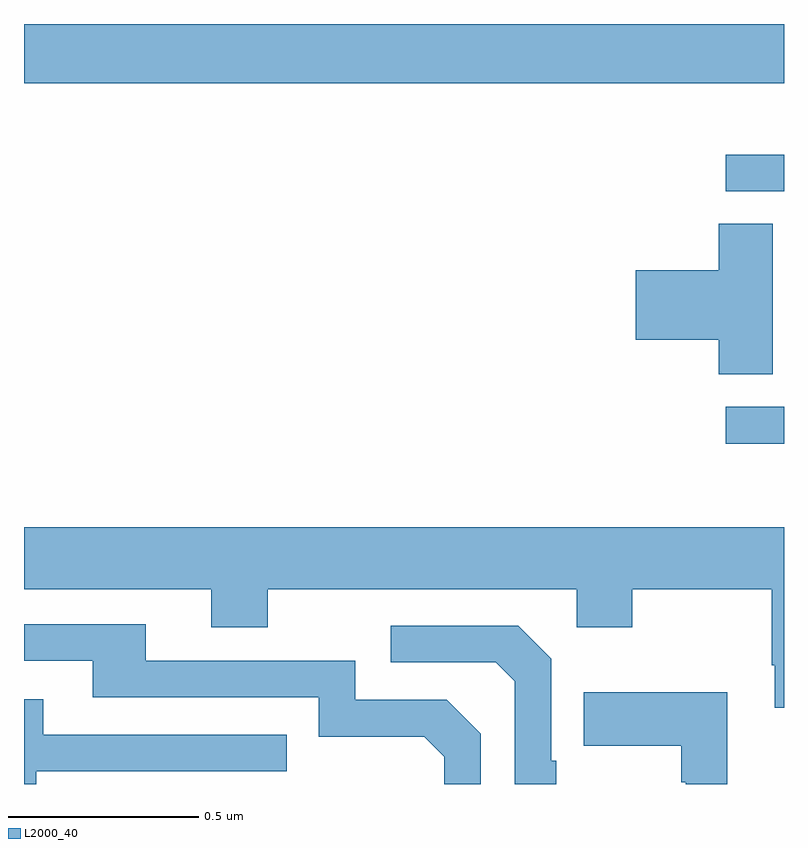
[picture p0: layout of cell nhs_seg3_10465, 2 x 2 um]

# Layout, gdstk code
import gdstk
lib = gdstk.Library(unit=1e-6, precision=1e-09)
def R(c, l, rs):  # rectangles x0, y0, x1, y1
    for r in rs: c.add(gdstk.rectangle(r[:2], r[2:], *l))
def P(c, l, *ps):  # polygons
    for p in ps: c.add(gdstk.Polygon(p, *l))
L2000_40 = (2000, 40)

nhs_seg3_10465 = lib.new_cell('nhs_seg3_10465')
R(nhs_seg3_10465, L2000_40, [(242.847,705.295,243,705.393), (242.847,705.96,243,706.056), (241,706.244,243,706.4)])
P(nhs_seg3_10465, L2000_40, [(242.971,705.875),(242.828,705.875),(242.828,705.752),(242.61,705.752),(242.61,705.569),(242.828,705.569),(242.828,705.478),(242.971,705.478)],
  [(243,705.076),(241,705.076),(241,704.912),(241.493,704.912),(241.493,704.813),(241.641,704.813),(241.641,704.912),(242.454,704.912),(242.454,704.813),(242.601,704.813),(242.601,704.912),(242.968,704.912),(242.968,704.713),(242.975,704.713),(242.975,704.601),(243,704.601)],
  [(242.202,704.532),(242.112,704.622),(241.872,704.622),(241.872,704.724),(241.321,704.724),(241.321,704.82),(241,704.82),(241,704.724),(241.181,704.724),(241.181,704.628),(241.776,704.628),(241.776,704.525),(242.053,704.525),(242.106,704.472),(242.106,704.4),(242.202,704.4)],
  [(242.401,704.461),(242.388,704.461),(242.388,704.73),(242.301,704.817),(241.965,704.817),(241.965,704.721),(242.241,704.721),(242.292,704.67),(242.292,704.4),(242.401,704.4)],
  [(242.851,704.641),(242.473,704.641),(242.473,704.501),(242.73,704.501),(242.73,704.405),(242.742,704.405),(242.742,704.4),(242.851,704.4)],
  [(241.032,704.433),(241.691,704.433),(241.691,704.529),(241.051,704.529),(241.051,704.623),(241,704.623),(241,704.4),(241.032,704.4)])

lib.write_gds('nhs_seg3_10465.gds')
